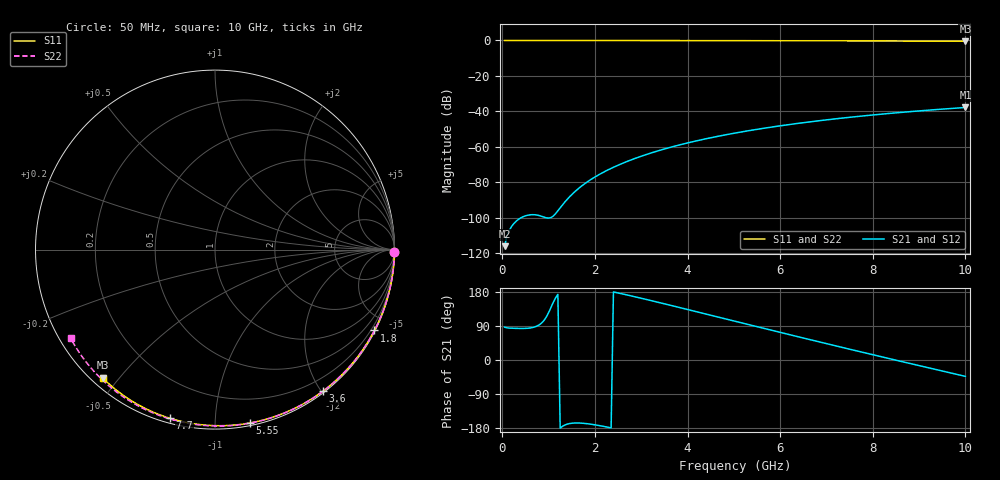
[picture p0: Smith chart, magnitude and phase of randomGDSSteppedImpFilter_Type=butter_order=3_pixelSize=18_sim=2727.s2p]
! freq	dB(S11)	phase(S11)	dB(S12)	phase(S12)
!  dB(S21)	phase(S21)	dB(S22)	phase(S22)
!S-par simulation data
#  GHz  S  DB  R 50
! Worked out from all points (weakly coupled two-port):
!   200 points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, 50 MHz to 10 GHz, reference 50 ohm
!   highest |S21| = -37.82 dB at 10 GHz (marker M1); lowest = -116.1 dB at 50 MHz (marker M2)
!   lowest |S11| = -0.4 dB at 10 GHz (marker M3), VSWR 39.14, Z = 1.54 - j22.6 ohm
!   |S11| at or under -10 dB: nowhere
!   |S22| runs from -0.5 to 0.0 dB; largest |S21 - S12| = 0
!   S11 on the Smith chart (normalised r, x): 50 MHz: open; 1.8 GHz: 0.04, -4.18; 3.6 GHz: 0.02, -2.02; 5.55 GHz: 0.02, -1.22; 7.7 GHz: 0.02, -0.77; 10 GHz: 0.03, -0.45
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0.05  -0.00 -0.8  -116.09 86.7  -116.09 86.7  -0.00 -0.9
0.45  -0.01 -6.8  -99.47 83.2  -99.47 83.2  -0.01 -7.7
0.9  -0.02 -13.6  -99.68 104.3  -99.68 104.3  -0.02 -15.3
1.3  -0.02 -19.5  -92.79 -175.0  -92.79 -175.0  -0.03 -22.0
1.75  -0.03 -26.2  -81.41 -167.0  -81.41 -167.0  -0.04 -29.5
1.8  -0.03 -26.9  -80.46 -167.6  -80.46 -167.6  -0.04 -30.3
1.85  -0.04 -27.6  -79.55 -168.4  -79.55 -168.4  -0.04 -31.1
2.05  -0.04 -30.6  -76.28 -172.1  -76.28 -172.1  -0.04 -34.4
2.2  -0.04 -32.7  -74.14 -175.4  -74.14 -175.4  -0.05 -36.9
2.55  -0.05 -37.8  -69.84 175.6  -69.84 175.6  -0.05 -42.5
2.95  -0.06 -43.5  -65.79 164.4  -65.79 164.4  -0.06 -48.9
3.4  -0.07 -49.8  -62.00 151.3  -62.00 151.3  -0.07 -56.0
3.6  -0.07 -52.6  -60.51 145.3  -60.51 145.3  -0.08 -59.1
4.3  -0.09 -62.2  -56.03 124.2  -56.03 124.2  -0.10 -69.8
5.05  -0.11 -72.1  -52.15 101.5  -52.15 101.5  -0.12 -80.9
5.55  -0.13 -78.6  -49.94 86.4  -49.94 86.4  -0.14 -88.1
6.1  -0.15 -85.5  -47.80 69.9  -47.80 69.9  -0.17 -95.9
6.7  -0.18 -92.9  -45.74 52.1  -45.74 52.1  -0.20 -104.2
7.7  -0.24 -104.9  -42.82 22.6  -42.82 22.6  -0.27 -117.8
8.35  -0.29 -112.5  -41.20 3.8  -41.20 3.8  -0.33 -126.4
9.2  -0.36 -122.2  -39.34 -20.5  -39.34 -20.5  -0.41 -137.7
10  -0.44 -131.3  -37.82 -43.2  -37.82 -43.2  -0.50 -148.4
